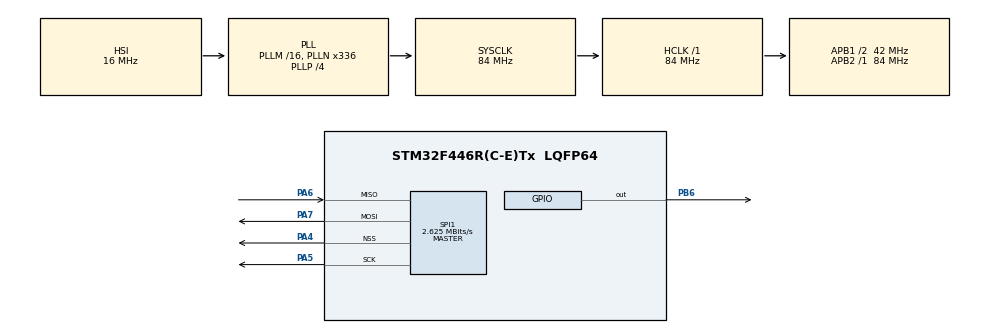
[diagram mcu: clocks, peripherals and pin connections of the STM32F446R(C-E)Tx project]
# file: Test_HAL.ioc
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Mcu.Family=STM32F4
Mcu.Name=STM32F446R(C-E)Tx
Mcu.Package=LQFP64
NVIC.PriorityGroup=NVIC_PRIORITYGROUP_0
NVIC.SPI1_IRQn=true\:0\:15\:false\:false\:true\:true\:true
PA4.Mode=NSS_Signal_Hard_Output
PA4.Signal=SPI1_NSS
PA5.GPIO_PuPd=GPIO_NOPULL
PA5.Mode=Full_Duplex_Master
PA5.Signal=SPI1_SCK
PA6.GPIO_PuPd=GPIO_NOPULL
PA6.Mode=Full_Duplex_Master
PA6.Signal=SPI1_MISO
PA7.GPIO_PuPd=GPIO_NOPULL
PA7.Mode=Full_Duplex_Master
PA7.Signal=SPI1_MOSI
PB6.Signal=GPIO_Output
ProjectManager.HeapSize=0x200
ProjectManager.StackSize=0x400
ProjectManager.TargetToolchain=STM32CubeIDE
RCC.48MHZClocksFreq_Value=84000000
RCC.AHBFreq_Value=84000000
RCC.APB1CLKDivider=RCC_HCLK_DIV2
RCC.APB1Freq_Value=42000000
RCC.APB1TimFreq_Value=84000000
RCC.APB2Freq_Value=84000000
RCC.APB2TimFreq_Value=84000000
RCC.CortexFreq_Value=84000000
RCC.FLatency-AdvancedSettings=FLASH_LATENCY_2
RCC.HCLKFreq_Value=84000000
RCC.HSE_VALUE=8000000
RCC.HSI_VALUE=16000000
RCC.PLLN=336
RCC.PLLP=RCC_PLLP_DIV4
RCC.SYSCLKFreq_VALUE=84000000
RCC.SYSCLKSource=RCC_SYSCLKSOURCE_PLLCLK
RCC.USBFreq_Value=168000000
RCC.VCOOutputFreq_Value=336000000
SPI1.BaudRatePrescaler=SPI_BAUDRATEPRESCALER_32
SPI1.CalculateBaudRate=2.625 MBits/s
SPI1.Direction=SPI_DIRECTION_2LINES
SPI1.Mode=SPI_MODE_MASTER
SPI1.VirtualNSS=VM_NSSHARD
SPI1.VirtualType=VM_MASTER
board=NUCLEO-F446RE

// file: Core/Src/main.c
/* USER CODE BEGIN Header */
/**
  ******************************************************************************
  * @file           : main.c
  * @brief          : Main program body
  ******************************************************************************
  * @attention
  *
  * <h2><center>&copy; Copyright (c) 2020 STMicroelectronics.
  * All rights reserved.</center></h2>
  *
  * This software component is licensed by ST under BSD 3-Clause license,
  * the "License"; You may not use this file except in compliance with the
  * License. You may obtain a copy of the License at:
  *                        opensource.org/licenses/BSD-3-Clause
  *
  ******************************************************************************
  */
/* USER CODE END Header */
#include "main.h"

/* USER CODE BEGIN Includes */
#include "bme280.h"
/* USER CODE END Includes */

SPI_HandleTypeDef hspi1;

/* USER CODE BEGIN PV */
struct bme280_dev dev;
/* USER CODE END PV */

void SystemClock_Config(void);
static void MX_GPIO_Init(void);
static void MX_SPI1_Init(void);

/* USER CODE BEGIN 0 */
int8_t user_spi_read(uint8_t reg_addr, uint8_t *reg_data, uint32_t len, void *intf_ptr) {
	uint8_t txBuffer[28] = {};
	uint8_t rxBuffer[28] = {};
	txBuffer[0] = reg_addr;
	HAL_GPIO_WritePin(GPIOB, GPIO_PIN_6, RESET);
	HAL_SPI_TransmitReceive(&hspi1, txBuffer, rxBuffer, len + 1, 500);
	while( hspi1.State == HAL_SPI_STATE_BUSY ) {};
	HAL_GPIO_WritePin(GPIOB, GPIO_PIN_6, SET);

	// copy to reg_data
	for(int i = 0; i < len; ++i) {
		reg_data[i] = rxBuffer[i + 1];
	}
	return 0;
}

int8_t user_spi_write (uint8_t reg_addr, const uint8_t *reg_data, uint32_t len, void *intf_ptr) {
	uint8_t txBuffer[28] = {};
	txBuffer[0] = reg_addr;
	for(int i = 0; i < len; ++i) {
		txBuffer[i + 1] = reg_data[i];
	}

	HAL_GPIO_WritePin(GPIOB, GPIO_PIN_6, RESET);
	HAL_SPI_Transmit(&hspi1, txBuffer, len + 1, 500);
	while(hspi1.State == HAL_SPI_STATE_BUSY) {};
	HAL_GPIO_WritePin(GPIOB, GPIO_PIN_6, SET);
	return 0;
}

void user_delay_us(uint32_t period, void *intf_ptr) {
	HAL_Delay(period / 1000);
}
/* USER CODE END 0 */

int main(void)
{

  /* MCU Configuration--------------------------------------------------------*/

  /* Reset of all peripherals, Initializes the Flash interface and the Systick. */
  HAL_Init();

  /* Configure the system clock */
  SystemClock_Config();

  /* Initialize all configured peripherals */
  MX_GPIO_Init();
  MX_SPI1_Init();
  /* USER CODE BEGIN 2 */
  int8_t rslt = BME280_OK;

  /* Sensor_0 interface over SPI with native chip select line */
  uint8_t dev_addr = 0;

  dev.intf_ptr = &dev_addr;
  dev.intf = BME280_SPI_INTF;
  dev.read = &user_spi_read;
  dev.write = &user_spi_write;
  dev.delay_us = &user_delay_us;

  rslt = bme280_init(&dev);

  // configure
  uint8_t ctrl_hum = 0x03;
  user_spi_write(0x72, &ctrl_hum, 1, dev.intf_ptr);
  uint8_t ctrl_means = 0xFF;
  user_spi_write(0x74, &ctrl_means, 1, dev.intf_ptr);

  // read configure
  user_spi_read(0xF2, &ctrl_hum, 1, dev.intf_ptr);
  user_spi_read(0xF4, &ctrl_means, 1, dev.intf_ptr);

  HAL_Delay(100);
  // get sensor data
  struct bme280_data comp_data;
  rslt = bme280_get_sensor_data(BME280_ALL, &comp_data, &dev);

  /* USER CODE END 2 */

  /* Infinite loop */
  while (1)
  {

  }
}

void SystemClock_Config(void)
{
  RCC_OscInitTypeDef RCC_OscInitStruct = {0};
  RCC_ClkInitTypeDef RCC_ClkInitStruct = {0};

  /** Configure the main internal regulator output voltage
  */
  __HAL_RCC_PWR_CLK_ENABLE();
  __HAL_PWR_VOLTAGESCALING_CONFIG(PWR_REGULATOR_VOLTAGE_SCALE3);
  /** Initializes the RCC Oscillators according to the specified parameters
  * in the RCC_OscInitTypeDef structure.
  */
  RCC_OscInitStruct.OscillatorType = RCC_OSCILLATORTYPE_HSI;
  RCC_OscInitStruct.HSIState = RCC_HSI_ON;
  RCC_OscInitStruct.HSICalibrationValue = RCC_HSICALIBRATION_DEFAULT;
  RCC_OscInitStruct.PLL.PLLState = RCC_PLL_ON;
  RCC_OscInitStruct.PLL.PLLSource = RCC_PLLSOURCE_HSI;
  RCC_OscInitStruct.PLL.PLLM = 16;
  RCC_OscInitStruct.PLL.PLLN = 336;
  RCC_OscInitStruct.PLL.PLLP = RCC_PLLP_DIV4;
  RCC_OscInitStruct.PLL.PLLQ = 2;
  RCC_OscInitStruct.PLL.PLLR = 2;
  if (HAL_RCC_OscConfig(&RCC_OscInitStruct) != HAL_OK)
  {
    Error_Handler();
  }
  /** Initializes the CPU, AHB and APB buses clocks
  */
  RCC_ClkInitStruct.ClockType = RCC_CLOCKTYPE_HCLK|RCC_CLOCKTYPE_SYSCLK
                              |RCC_CLOCKTYPE_PCLK1|RCC_CLOCKTYPE_PCLK2;
  RCC_ClkInitStruct.SYSCLKSource = RCC_SYSCLKSOURCE_PLLCLK;
  RCC_ClkInitStruct.AHBCLKDivider = RCC_SYSCLK_DIV1;
  RCC_ClkInitStruct.APB1CLKDivider = RCC_HCLK_DIV2;
  RCC_ClkInitStruct.APB2CLKDivider = RCC_HCLK_DIV1;

  if (HAL_RCC_ClockConfig(&RCC_ClkInitStruct, FLASH_LATENCY_2) != HAL_OK)
  {
    Error_Handler();
  }
}

static void MX_SPI1_Init(void)
{

  /* SPI1 parameter configuration*/
  hspi1.Instance = SPI1;
  hspi1.Init.Mode = SPI_MODE_MASTER;
  hspi1.Init.Direction = SPI_DIRECTION_2LINES;
  hspi1.Init.DataSize = SPI_DATASIZE_8BIT;
  hspi1.Init.CLKPolarity = SPI_POLARITY_LOW;
  hspi1.Init.CLKPhase = SPI_PHASE_1EDGE;
  hspi1.Init.NSS = SPI_NSS_SOFT;
  hspi1.Init.BaudRatePrescaler = SPI_BAUDRATEPRESCALER_32;
  hspi1.Init.FirstBit = SPI_FIRSTBIT_MSB;
  hspi1.Init.TIMode = SPI_TIMODE_DISABLE;
  hspi1.Init.CRCCalculation = SPI_CRCCALCULATION_DISABLE;
  hspi1.Init.CRCPolynomial = 10;
  if (HAL_SPI_Init(&hspi1) != HAL_OK)
  {
    Error_Handler();
  }

}

static void MX_GPIO_Init(void)
{
  GPIO_InitTypeDef GPIO_InitStruct = {0};

  /* GPIO Ports Clock Enable */
  __HAL_RCC_GPIOA_CLK_ENABLE();
  __HAL_RCC_GPIOB_CLK_ENABLE();

  /*Configure GPIO pin Output Level */
  HAL_GPIO_WritePin(GPIOB, GPIO_PIN_6, GPIO_PIN_SET);

  /*Configure GPIO pin : PB6 */
  GPIO_InitStruct.Pin = GPIO_PIN_6;
  GPIO_InitStruct.Mode = GPIO_MODE_OUTPUT_PP;
  GPIO_InitStruct.Pull = GPIO_NOPULL;
  GPIO_InitStruct.Speed = GPIO_SPEED_FREQ_LOW;
  HAL_GPIO_Init(GPIOB, &GPIO_InitStruct);

}

void Error_Handler(void)
{
}

/************************ (C) COPYRIGHT STMicroelectronics *****END OF FILE****/
